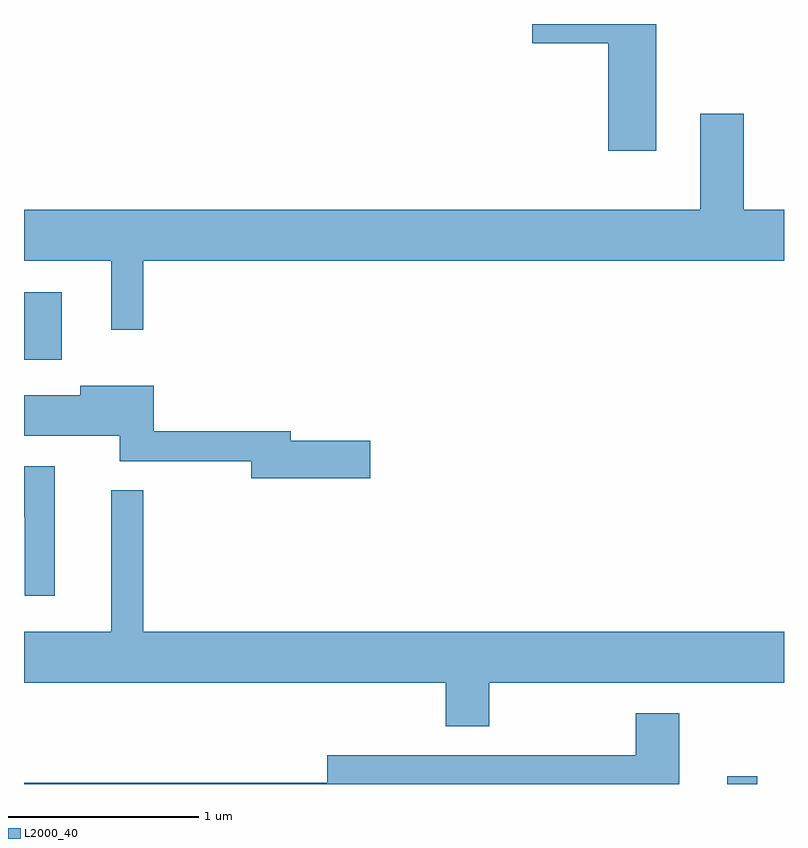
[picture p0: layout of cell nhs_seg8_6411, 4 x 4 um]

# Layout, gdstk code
import gdstk
lib = gdstk.Library(unit=1e-6, precision=1e-09)
def R(c, l, rs):  # rectangles x0, y0, x1, y1
    for r in rs: c.add(gdstk.rectangle(r[:2], r[2:], *l))
def P(c, l, *ps):  # polygons
    for p in ps: c.add(gdstk.Polygon(p, *l))
L2000_40 = (2000, 40)

nhs_seg8_6411 = lib.new_cell('nhs_seg8_6411')
R(nhs_seg8_6411, L2000_40, [(381.311,1820.342,381.469,1820.383), (377.611,1822.576,377.809,1822.929)])
P(nhs_seg8_6411, L2000_40, [(380.939,1824.342),(380.286,1824.342),(380.286,1824.241),(380.686,1824.241),(380.686,1823.676),(380.939,1823.676)],
  [(378.239,1823.096),(381.611,1823.096),(381.611,1823.364),(381.399,1823.364),(381.399,1823.869),(381.171,1823.869),(381.171,1823.364),(377.611,1823.364),(377.611,1823.096),(378.071,1823.096),(378.071,1822.733),(378.239,1822.733)],
  [(379.434,1822.149),(379.014,1822.149),(379.014,1822.199),(378.294,1822.199),(378.294,1822.439),(377.906,1822.439),(377.906,1822.389),(377.611,1822.389),(377.611,1822.176),(378.116,1822.176),(378.116,1822.041),(378.806,1822.041),(378.806,1821.951),(379.434,1821.951)],
  [(377.774,1822.014),(377.611,1822.014),(377.611,1821.746),(377.616,1821.746),(377.616,1821.333),(377.774,1821.333)],
  [(380.059,1820.876),(381.611,1820.876),(381.611,1821.144),(378.239,1821.144),(378.239,1821.888),(378.071,1821.888),(378.071,1821.144),(377.611,1821.144),(377.611,1820.876),(379.831,1820.876),(379.831,1820.646),(380.059,1820.646)],
  [(381.059,1820.714),(380.831,1820.714),(380.831,1820.494),(379.206,1820.494),(379.206,1820.349),(377.611,1820.349),(377.611,1820.342),(381.059,1820.342)])

lib.write_gds('nhs_seg8_6411.gds')
